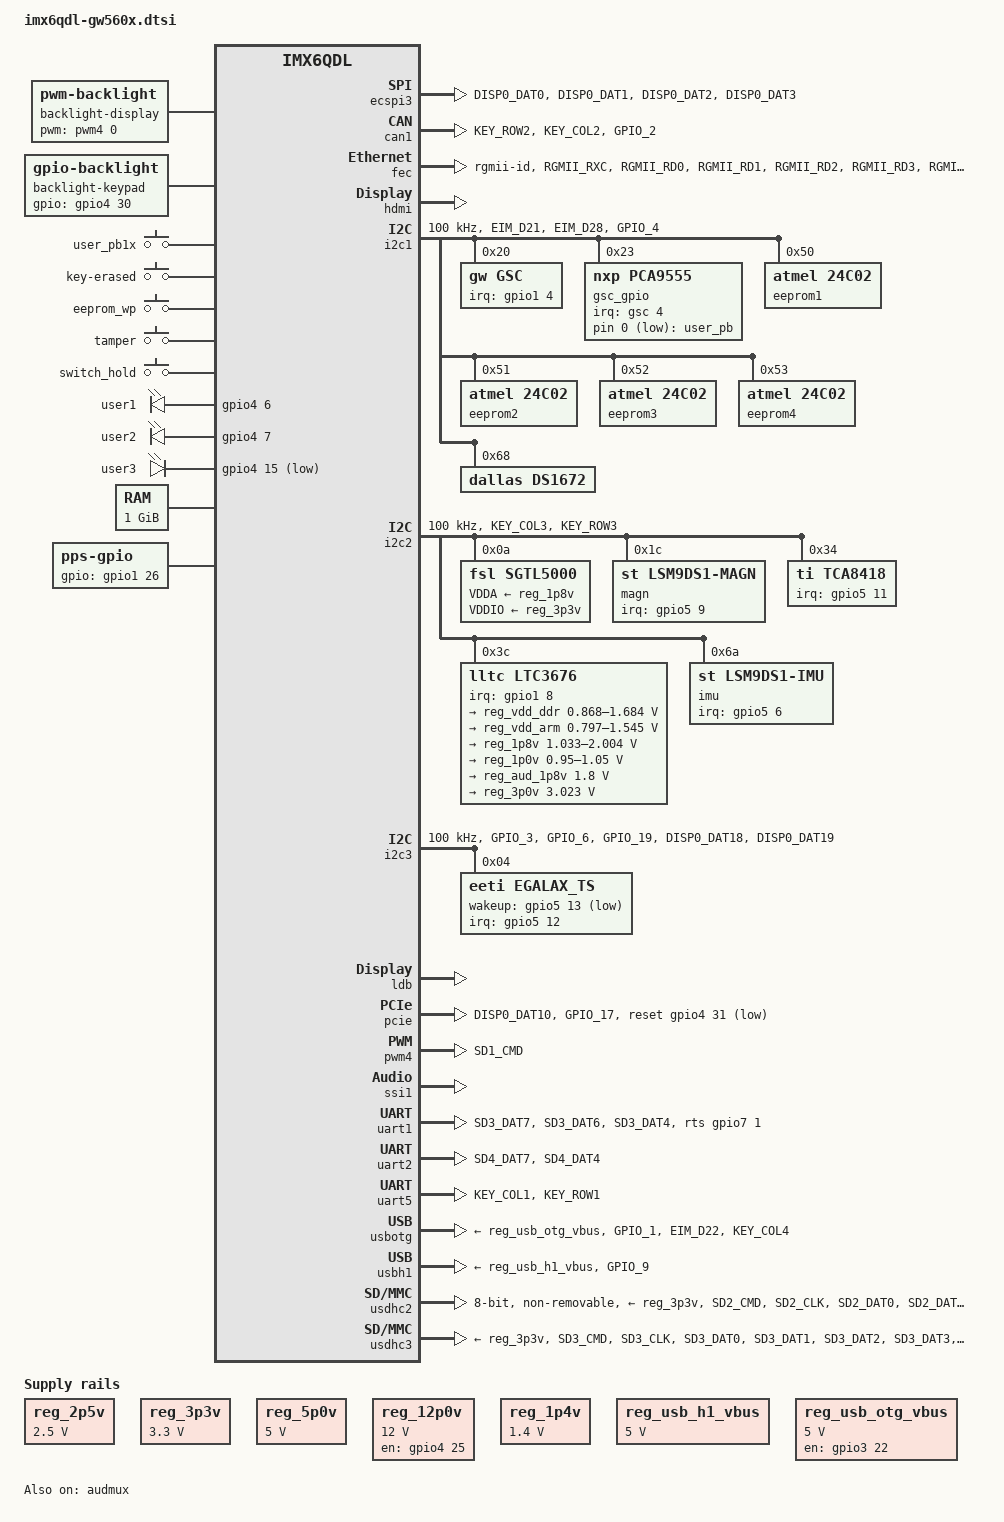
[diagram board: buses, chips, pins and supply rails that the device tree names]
/*
 * Copyright 2017 Gateworks Corporation
 *
 * This file is dual-licensed: you can use it either under the terms
 * of the GPL or the X11 license, at your option. Note that this dual
 * licensing only applies to this file, and not this project as a
 * whole.
 *
 *  a) This file is free software; you can redistribute it and/or
 *     modify it under the terms of the GNU General Public License as
 *     published by the Free Software Foundation; either version 2 of
 *     the License, or (at your option) any later version.
 *
 *     This file is distributed in the hope that it will be useful,
 *     but WITHOUT ANY WARRANTY; without even the implied warranty of
 *     MERCHANTABILITY or FITNESS FOR A PARTICULAR PURPOSE.  See the
 *     GNU General Public License for more details.
 *
 *     You should have received a copy of the GNU General Public
 *     License along with this file; if not, write to the Free
 *     Software Foundation, Inc., 51 Franklin St, Fifth Floor, Boston,
 *     MA 02110-1301 USA
 *
 * Or, alternatively,
 *
 *  b) Permission is hereby granted, free of charge, to any person
 *     obtaining a copy of this software and associated documentation
 *     files (the "Software"), to deal in the Software without
 *     restriction, including without limitation the rights to use,
 *     copy, modify, merge, publish, distribute, sublicense, and/or
 *     sell copies of the Software, and to permit persons to whom the
 *     Software is furnished to do so, subject to the following
 *     conditions:
 *
 *     The above copyright notice and this permission notice shall be
 *     included in all copies or substantial portions of the Software.
 *
 *     THE SOFTWARE IS PROVIDED "AS IS", WITHOUT WARRANTY OF ANY KIND,
 *     EXPRESS OR IMPLIED, INCLUDING BUT NOT LIMITED TO THE WARRANTIES
 *     OF MERCHANTABILITY, FITNESS FOR A PARTICULAR PURPOSE AND
 *     NONINFRINGEMENT. IN NO EVENT SHALL THE AUTHORS OR COPYRIGHT
 *     HOLDERS BE LIABLE FOR ANY CLAIM, DAMAGES OR OTHER LIABILITY,
 *     WHETHER IN AN ACTION OF CONTRACT, TORT OR OTHERWISE, ARISING
 *     FROM, OUT OF OR IN CONNECTION WITH THE SOFTWARE OR THE USE OR
 *     OTHER DEALINGS IN THE SOFTWARE.
 */

#include <dt-bindings/gpio/gpio.h>
#include <dt-bindings/input/input.h>
#include <dt-bindings/interrupt-controller/irq.h>

/ {
	/* these are used by bootloader for disabling nodes */
	aliases {
		led0 = &led0;
		led1 = &led1;
		led2 = &led2;
		ssi0 = &ssi1;
		usb0 = &usbh1;
		usb1 = &usbotg;
	};

	chosen {
		stdout-path = &uart2;
	};

	backlight-display {
		compatible = "pwm-backlight";
		pwms = <&pwm4 0 5000000 0>;
		brightness-levels = <
			0  1  2  3  4  5  6  7  8  9
			10 11 12 13 14 15 16 17 18 19
			20 21 22 23 24 25 26 27 28 29
			30 31 32 33 34 35 36 37 38 39
			40 41 42 43 44 45 46 47 48 49
			50 51 52 53 54 55 56 57 58 59
			60 61 62 63 64 65 66 67 68 69
			70 71 72 73 74 75 76 77 78 79
			80 81 82 83 84 85 86 87 88 89
			90 91 92 93 94 95 96 97 98 99
			100
			>;
		default-brightness-level = <100>;
	};

	backlight-keypad {
		compatible = "gpio-backlight";
		gpios = <&gpio4 30 GPIO_ACTIVE_HIGH>;
		default-on;
	};

	gpio-keys {
		compatible = "gpio-keys";

		user-pb {
			label = "user_pb";
			gpios = <&gsc_gpio 0 GPIO_ACTIVE_LOW>;
			linux,code = <BTN_0>;
		};

		user-pb1x {
			label = "user_pb1x";
			linux,code = <BTN_1>;
			interrupt-parent = <&gsc>;
			interrupts = <0>;
		};

		key-erased {
			label = "key-erased";
			linux,code = <BTN_2>;
			interrupt-parent = <&gsc>;
			interrupts = <1>;
		};

		eeprom-wp {
			label = "eeprom_wp";
			linux,code = <BTN_3>;
			interrupt-parent = <&gsc>;
			interrupts = <2>;
		};

		tamper {
			label = "tamper";
			linux,code = <BTN_4>;
			interrupt-parent = <&gsc>;
			interrupts = <5>;
		};

		switch-hold {
			label = "switch_hold";
			linux,code = <BTN_5>;
			interrupt-parent = <&gsc>;
			interrupts = <7>;
		};
	};

	leds {
		compatible = "gpio-leds";
		pinctrl-names = "default";
		pinctrl-0 = <&pinctrl_gpio_leds>;

		led0: led-user1 {
			label = "user1";
			gpios = <&gpio4 6 GPIO_ACTIVE_HIGH>; /* MX6_PANLEDG */
			default-state = "on";
			linux,default-trigger = "heartbeat";
		};

		led1: led-user2 {
			label = "user2";
			gpios = <&gpio4 7 GPIO_ACTIVE_HIGH>; /* MX6_PANLEDR */
			default-state = "off";
		};

		led2: led-user3 {
			label = "user3";
			gpios = <&gpio4 15 GPIO_ACTIVE_LOW>; /* MX6_LOCLED# */
			default-state = "off";
		};
	};

	memory@10000000 {
		device_type = "memory";
		reg = <0x10000000 0x40000000>;
	};

	pps {
		compatible = "pps-gpio";
		pinctrl-names = "default";
		pinctrl-0 = <&pinctrl_pps>;
		gpios = <&gpio1 26 GPIO_ACTIVE_HIGH>;
	};

	reg_2p5v: regulator-2p5v {
		compatible = "regulator-fixed";
		regulator-name = "2P5V";
		regulator-min-microvolt = <2500000>;
		regulator-max-microvolt = <2500000>;
		regulator-always-on;
	};

	reg_3p3v: regulator-3p3v {
		compatible = "regulator-fixed";
		regulator-name = "3P3V";
		regulator-min-microvolt = <3300000>;
		regulator-max-microvolt = <3300000>;
		regulator-always-on;
	};

	reg_5p0v: regulator-5p0v {
		compatible = "regulator-fixed";
		regulator-name = "5P0V";
		regulator-min-microvolt = <5000000>;
		regulator-max-microvolt = <5000000>;
		regulator-always-on;
	};

	reg_12p0v: regulator-12p0v {
		compatible = "regulator-fixed";
		regulator-name = "12P0V";
		regulator-min-microvolt = <12000000>;
		regulator-max-microvolt = <12000000>;
		gpio = <&gpio4 25 GPIO_ACTIVE_HIGH>;
		enable-active-high;
	};

	reg_1p4v: regulator-vddsoc {
		compatible = "regulator-fixed";
		regulator-name = "vdd_soc";
		regulator-min-microvolt = <1400000>;
		regulator-max-microvolt = <1400000>;
		regulator-always-on;
	};

	reg_usb_h1_vbus: regulator-usb-h1-vbus {
		compatible = "regulator-fixed";
		regulator-name = "usb_h1_vbus";
		regulator-min-microvolt = <5000000>;
		regulator-max-microvolt = <5000000>;
		regulator-always-on;
	};

	reg_usb_otg_vbus: regulator-usb-otg-vbus {
		compatible = "regulator-fixed";
		regulator-name = "usb_otg_vbus";
		regulator-min-microvolt = <5000000>;
		regulator-max-microvolt = <5000000>;
		gpio = <&gpio3 22 GPIO_ACTIVE_HIGH>;
		enable-active-high;
	};

	sound {
		compatible = "fsl,imx6q-ventana-sgtl5000",
			     "fsl,imx-audio-sgtl5000";
		model = "sgtl5000-audio";
		ssi-controller = <&ssi1>;
		audio-codec = <&sgtl5000>;
		audio-routing =
			"MIC_IN", "Mic Jack",
			"Mic Jack", "Mic Bias",
			"Headphone Jack", "HP_OUT";
		mux-int-port = <1>;
		mux-ext-port = <4>;
	};
};

&audmux {
	pinctrl-names = "default";
	pinctrl-0 = <&pinctrl_audmux>;
	status = "okay";
};

&ecspi3 {
	cs-gpios = <&gpio4 24 GPIO_ACTIVE_LOW>;
	pinctrl-names = "default";
	pinctrl-0 = <&pinctrl_ecspi3>;
	status = "okay";
};

&can1 {
	pinctrl-names = "default";
	pinctrl-0 = <&pinctrl_flexcan>;
	status = "okay";
};

&clks {
	assigned-clocks = <&clks IMX6QDL_CLK_LDB_DI0_SEL>,
			  <&clks IMX6QDL_CLK_LDB_DI1_SEL>;
	assigned-clock-parents = <&clks IMX6QDL_CLK_PLL3_USB_OTG>,
				 <&clks IMX6QDL_CLK_PLL3_USB_OTG>;
};

&fec {
	pinctrl-names = "default";
	pinctrl-0 = <&pinctrl_enet>;
	phy-mode = "rgmii-id";
	phy-reset-gpios = <&gpio1 30 GPIO_ACTIVE_LOW>;
	status = "okay";
};

&hdmi {
	ddc-i2c-bus = <&i2c3>;
	status = "okay";
};

&i2c1 {
	clock-frequency = <100000>;
	pinctrl-names = "default";
	pinctrl-0 = <&pinctrl_i2c1>;
	status = "okay";

	gsc: gsc@20 {
		compatible = "gw,gsc";
		reg = <0x20>;
		interrupt-parent = <&gpio1>;
		interrupts = <4 IRQ_TYPE_LEVEL_LOW>;
		interrupt-controller;
		#interrupt-cells = <1>;
		#size-cells = <0>;

		adc {
			compatible = "gw,gsc-adc";
			#address-cells = <1>;
			#size-cells = <0>;

			channel@0 {
				gw,mode = <0>;
				reg = <0x00>;
				label = "temp";
			};

			channel@2 {
				gw,mode = <1>;
				reg = <0x02>;
				label = "vdd_vin";
			};

			channel@5 {
				gw,mode = <1>;
				reg = <0x05>;
				label = "vdd_3p3";
			};

			channel@8 {
				gw,mode = <1>;
				reg = <0x08>;
				label = "vdd_bat";
			};

			channel@b {
				gw,mode = <1>;
				reg = <0x0b>;
				label = "vdd_5p0";
			};

			channel@e {
				gw,mode = <1>;
				reg = <0xe>;
				label = "vdd_arm";
			};

			channel@11 {
				gw,mode = <1>;
				reg = <0x11>;
				label = "vdd_soc";
			};

			channel@14 {
				gw,mode = <1>;
				reg = <0x14>;
				label = "vdd_3p0";
			};

			channel@17 {
				gw,mode = <1>;
				reg = <0x17>;
				label = "vdd_1p5";
			};

			channel@1d {
				gw,mode = <1>;
				reg = <0x1d>;
				label = "vdd_1p8";
			};

			channel@20 {
				gw,mode = <1>;
				reg = <0x20>;
				label = "vdd_an1";
			};

			channel@23 {
				gw,mode = <1>;
				reg = <0x23>;
				label = "vdd_2p5";
			};

			channel@26 {
				gw,mode = <1>;
				reg = <0x26>;
				label = "vdd_gps";
			};

			channel@29 {
				gw,mode = <1>;
				reg = <0x29>;
				label = "vdd_an2";
			};
		};
	};

	gsc_gpio: gpio@23 {
		compatible = "nxp,pca9555";
		reg = <0x23>;
		gpio-controller;
		#gpio-cells = <2>;
		interrupt-parent = <&gsc>;
		interrupts = <4>;
	};

	eeprom1: eeprom@50 {
		compatible = "atmel,24c02";
		reg = <0x50>;
		pagesize = <16>;
	};

	eeprom2: eeprom@51 {
		compatible = "atmel,24c02";
		reg = <0x51>;
		pagesize = <16>;
	};

	eeprom3: eeprom@52 {
		compatible = "atmel,24c02";
		reg = <0x52>;
		pagesize = <16>;
	};

	eeprom4: eeprom@53 {
		compatible = "atmel,24c02";
		reg = <0x53>;
		pagesize = <16>;
	};

	ds1672: rtc@68 {
		compatible = "dallas,ds1672";
		reg = <0x68>;
	};
};

&i2c2 {
	clock-frequency = <100000>;
	pinctrl-names = "default";
	pinctrl-0 = <&pinctrl_i2c2>;
	status = "okay";

	sgtl5000: codec@a {
		compatible = "fsl,sgtl5000";
		reg = <0x0a>;
		#sound-dai-cells = <0>;
		clocks = <&clks IMX6QDL_CLK_CKO>;
		VDDA-supply = <&reg_1p8v>;
		VDDIO-supply = <&reg_3p3v>;
	};

	magn@1c {
		compatible = "st,lsm9ds1-magn";
		reg = <0x1c>;
		pinctrl-names = "default";
		pinctrl-0 = <&pinctrl_mag>;
		interrupt-parent = <&gpio5>;
		interrupts = <9 IRQ_TYPE_EDGE_RISING>;
	};

	tca8418: keypad@34 {
		compatible = "ti,tca8418";
		pinctrl-names = "default";
		pinctrl-0 = <&pinctrl_keypad>;
		reg = <0x34>;
		interrupt-parent = <&gpio5>;
		interrupts = <11 IRQ_TYPE_EDGE_FALLING>;
		linux,keymap = < MATRIX_KEY(0x00, 0x01, BTN_0)
			         MATRIX_KEY(0x00, 0x00, BTN_1)
			         MATRIX_KEY(0x01, 0x01, BTN_2)
			         MATRIX_KEY(0x01, 0x00, BTN_3)
			         MATRIX_KEY(0x02, 0x00, BTN_4)
			         MATRIX_KEY(0x00, 0x03, BTN_5)
			         MATRIX_KEY(0x00, 0x02, BTN_6)
			         MATRIX_KEY(0x01, 0x03, BTN_7)
			         MATRIX_KEY(0x01, 0x02, BTN_8)
			         MATRIX_KEY(0x02, 0x02, BTN_9)
		>;
		keypad,num-rows = <4>;
		keypad,num-columns = <4>;
	};

	ltc3676: pmic@3c {
		compatible = "lltc,ltc3676";
		pinctrl-names = "default";
		pinctrl-0 = <&pinctrl_pmic>;
		reg = <0x3c>;
		interrupt-parent = <&gpio1>;
		interrupts = <8 IRQ_TYPE_EDGE_FALLING>;

		regulators {
			/* VDD_DDR (1+R1/R2 = 2.105) */
			reg_vdd_ddr: sw2 {
				regulator-name = "vddddr";
				regulator-min-microvolt = <868310>;
				regulator-max-microvolt = <1684000>;
				lltc,fb-voltage-divider = <221000 200000>;
				regulator-ramp-delay = <7000>;
				regulator-boot-on;
				regulator-always-on;
			};

			/* VDD_ARM (1+R1/R2 = 1.931) */
			reg_vdd_arm: sw3 {
				regulator-name = "vddarm";
				regulator-min-microvolt = <796551>;
				regulator-max-microvolt = <1544827>;
				lltc,fb-voltage-divider = <243000 261000>;
				regulator-ramp-delay = <7000>;
				regulator-boot-on;
				regulator-always-on;
				linux,phandle = <&reg_vdd_arm>;
			};

			/* VDD_1P8 (1+R1/R2 = 2.505): GPS/VideoIn/ENET-PHY */
			reg_1p8v: sw4 {
				regulator-name = "vdd1p8";
				regulator-min-microvolt = <1033310>;
				regulator-max-microvolt = <2004000>;
				lltc,fb-voltage-divider = <301000 200000>;
				regulator-ramp-delay = <7000>;
				regulator-boot-on;
				regulator-always-on;
			};

			/* VDD_1P0 (1+R1/R2 = 1.39): PCIe/ENET-PHY */
			reg_1p0v: ldo2 {
				regulator-name = "vdd1p0";
				regulator-min-microvolt = <950000>;
				regulator-max-microvolt = <1050000>;
				lltc,fb-voltage-divider = <78700 200000>;
				regulator-boot-on;
				regulator-always-on;
			};

			/* VDD_AUD_1P8: Audio codec */
			reg_aud_1p8v: ldo3 {
				regulator-name = "vdd1p8a";
				regulator-min-microvolt = <1800000>;
				regulator-max-microvolt = <1800000>;
				regulator-boot-on;
			};

			/* VDD_HIGH (1+R1/R2 = 4.17) */
			reg_3p0v: ldo4 {
				regulator-name = "vdd3p0";
				regulator-min-microvolt = <3023250>;
				regulator-max-microvolt = <3023250>;
				lltc,fb-voltage-divider = <634000 200000>;
				regulator-boot-on;
				regulator-always-on;
			};
		};
	};

	imu@6a {
		compatible = "st,lsm9ds1-imu";
		reg = <0x6a>;
		st,drdy-int-pin = <1>;
		pinctrl-names = "default";
		pinctrl-0 = <&pinctrl_imu>;
		interrupt-parent = <&gpio5>;
		interrupts = <6 IRQ_TYPE_LEVEL_HIGH>;
	};
};

&i2c3 {
	clock-frequency = <100000>;
	pinctrl-names = "default";
	pinctrl-0 = <&pinctrl_i2c3>;
	status = "okay";

	egalax_ts: touchscreen@4 {
		compatible = "eeti,egalax_ts";
		reg = <0x04>;
		interrupt-parent = <&gpio5>;
		interrupts = <12 IRQ_TYPE_EDGE_FALLING>;
		wakeup-gpios = <&gpio5 13 GPIO_ACTIVE_LOW>;
	};
};

&ldb {
	fsl,dual-channel;
	status = "okay";

	lvds-channel@0 {
		fsl,data-mapping = "spwg";
		fsl,data-width = <18>;
		status = "okay";

		display-timings {
			native-mode = <&timing0>;
			timing0: timing-hsd100pxn1 {
				clock-frequency = <65000000>;
				hactive = <1024>;
				vactive = <768>;
				hback-porch = <220>;
				hfront-porch = <40>;
				vback-porch = <21>;
				vfront-porch = <7>;
				hsync-len = <60>;
				vsync-len = <10>;
			};
		};
	};
};

&pcie {
	pinctrl-names = "default";
	pinctrl-0 = <&pinctrl_pcie>;
	reset-gpio = <&gpio4 31 GPIO_ACTIVE_LOW>;
	status = "okay";
};

&pwm2 {
	pinctrl-names = "default";
	pinctrl-0 = <&pinctrl_pwm2>; /* MX6_DIO1 */
	status = "disabled";
};

&pwm3 {
	pinctrl-names = "default";
	pinctrl-0 = <&pinctrl_pwm3>; /* MX6_DIO2 */
	status = "disabled";
};

&pwm4 {
	pinctrl-names = "default";
	pinctrl-0 = <&pinctrl_pwm4>;
	status = "okay";
};

&ssi1 {
	status = "okay";
};

&uart1 {
	pinctrl-names = "default";
	pinctrl-0 = <&pinctrl_uart1>;
	rts-gpios = <&gpio7 1 GPIO_ACTIVE_HIGH>;
	status = "okay";
};

&uart2 {
	pinctrl-names = "default";
	pinctrl-0 = <&pinctrl_uart2>;
	status = "okay";
};

&uart5 {
	pinctrl-names = "default";
	pinctrl-0 = <&pinctrl_uart5>;
	status = "okay";
};

&usbotg {
	vbus-supply = <&reg_usb_otg_vbus>;
	pinctrl-names = "default";
	pinctrl-0 = <&pinctrl_usbotg>;
	disable-over-current;
	status = "okay";
};

&usbh1 {
	vbus-supply = <&reg_usb_h1_vbus>;
	pinctrl-names = "default";
	pinctrl-0 = <&pinctrl_usbh1>;
	status = "okay";
};

&usdhc2 {
	pinctrl-names = "default";
	pinctrl-0 = <&pinctrl_usdhc2>;
	bus-width = <8>;
	vmmc-supply = <&reg_3p3v>;
	non-removable;
	status = "okay";
};

&usdhc3 {
	pinctrl-names = "default", "state_100mhz", "state_200mhz";
	pinctrl-0 = <&pinctrl_usdhc3>;
	pinctrl-1 = <&pinctrl_usdhc3_100mhz>;
	pinctrl-2 = <&pinctrl_usdhc3_200mhz>;
	cd-gpios = <&gpio7 0 GPIO_ACTIVE_HIGH>;
	vmmc-supply = <&reg_3p3v>;
	status = "okay";
};

&wdog1 {
	pinctrl-names = "default";
	pinctrl-0 = <&pinctrl_wdog>;
	fsl,ext-reset-output;
};

&iomuxc {
	pinctrl_audmux: audmuxgrp {
		fsl,pins = <
			/* AUD4 */
			MX6QDL_PAD_DISP0_DAT20__AUD4_TXC	0x130b0
			MX6QDL_PAD_DISP0_DAT21__AUD4_TXD	0x110b0
			MX6QDL_PAD_DISP0_DAT22__AUD4_TXFS	0x130b0
			MX6QDL_PAD_DISP0_DAT23__AUD4_RXD	0x130b0
			MX6QDL_PAD_GPIO_0__CCM_CLKO1		0x130b0 /* AUD4_MCK */
			/* AUD6 */
			MX6QDL_PAD_DI0_PIN2__AUD6_TXD		0x130b0
			MX6QDL_PAD_DI0_PIN3__AUD6_TXFS		0x130b0
			MX6QDL_PAD_DI0_PIN4__AUD6_RXD		0x130b0
			MX6QDL_PAD_DI0_PIN15__AUD6_TXC		0x130b0
		>;
	};

	pinctrl_ecspi3: escpi3grp {
		fsl,pins = <
			MX6QDL_PAD_DISP0_DAT0__ECSPI3_SCLK	0x100b1
			MX6QDL_PAD_DISP0_DAT1__ECSPI3_MOSI	0x100b1
			MX6QDL_PAD_DISP0_DAT2__ECSPI3_MISO	0x100b1
			MX6QDL_PAD_DISP0_DAT3__GPIO4_IO24	0x100b1
		>;
	};

	pinctrl_enet: enetgrp {
		fsl,pins = <
			MX6QDL_PAD_RGMII_RXC__RGMII_RXC		0x1b030
			MX6QDL_PAD_RGMII_RD0__RGMII_RD0		0x1b030
			MX6QDL_PAD_RGMII_RD1__RGMII_RD1		0x1b030
			MX6QDL_PAD_RGMII_RD2__RGMII_RD2		0x1b030
			MX6QDL_PAD_RGMII_RD3__RGMII_RD3		0x1b030
			MX6QDL_PAD_RGMII_RX_CTL__RGMII_RX_CTL	0x1b030
			MX6QDL_PAD_RGMII_TXC__RGMII_TXC		0x1b030
			MX6QDL_PAD_RGMII_TD0__RGMII_TD0		0x1b030
			MX6QDL_PAD_RGMII_TD1__RGMII_TD1		0x1b030
			MX6QDL_PAD_RGMII_TD2__RGMII_TD2		0x1b030
			MX6QDL_PAD_RGMII_TD3__RGMII_TD3		0x1b030
			MX6QDL_PAD_RGMII_TX_CTL__RGMII_TX_CTL	0x1b030
			MX6QDL_PAD_ENET_REF_CLK__ENET_TX_CLK	0x1b0b0
			MX6QDL_PAD_ENET_MDIO__ENET_MDIO		0x1b0b0
			MX6QDL_PAD_ENET_MDC__ENET_MDC		0x1b0b0
			MX6QDL_PAD_GPIO_16__ENET_REF_CLK	0x4001b0a8
			MX6QDL_PAD_ENET_TXD0__GPIO1_IO30	0x4001b0b0 /* PHY_RST# */
		>;
	};

	pinctrl_flexcan: flexcangrp {
		fsl,pins = <
			MX6QDL_PAD_KEY_ROW2__FLEXCAN1_RX	0x1b0b1
			MX6QDL_PAD_KEY_COL2__FLEXCAN1_TX	0x1b0b1
			MX6QDL_PAD_GPIO_2__GPIO1_IO02		0x4001b0b0 /* CAN_STBY */
		>;
	};

	pinctrl_gpio_leds: gpioledsgrp {
		fsl,pins = <
			MX6QDL_PAD_KEY_COL0__GPIO4_IO06		0x1b0b0
			MX6QDL_PAD_KEY_ROW0__GPIO4_IO07		0x1b0b0
			MX6QDL_PAD_KEY_ROW4__GPIO4_IO15		0x1b0b0
		>;
	};

	pinctrl_i2c1: i2c1grp {
		fsl,pins = <
			MX6QDL_PAD_EIM_D21__I2C1_SCL		0x4001b8b1
			MX6QDL_PAD_EIM_D28__I2C1_SDA		0x4001b8b1
			MX6QDL_PAD_GPIO_4__GPIO1_IO04		0xb0b1
		>;
	};

	pinctrl_i2c2: i2c2grp {
		fsl,pins = <
			MX6QDL_PAD_KEY_COL3__I2C2_SCL		0x4001b8b1
			MX6QDL_PAD_KEY_ROW3__I2C2_SDA		0x4001b8b1
		>;
	};

	pinctrl_i2c3: i2c3grp {
		fsl,pins = <
			MX6QDL_PAD_GPIO_3__I2C3_SCL		0x4001b8b1
			MX6QDL_PAD_GPIO_6__I2C3_SDA		0x4001b8b1
			MX6QDL_PAD_GPIO_19__GPIO4_IO05		0x4001b0b0 /* DIOI2C_DIS# */
			MX6QDL_PAD_DISP0_DAT18__GPIO5_IO12	0x0001b0b0 /* LVDS_TOUCH_IRQ# */
			MX6QDL_PAD_DISP0_DAT19__GPIO5_IO13	0x0001b0b0 /* LVDS_BACKEN */
		>;
	};

	pinctrl_imu: imugrp {
		fsl,pins = <
			MX6QDL_PAD_DISP0_DAT12__GPIO5_IO06	0x1b0b0
		>;
	};

	pinctrl_keypad: keypadgrp {
		fsl,pins = <
			MX6QDL_PAD_DISP0_DAT17__GPIO5_IO11	0x0001b0b0 /* KEYPAD_IRQ# */
			MX6QDL_PAD_DISP0_DAT9__GPIO4_IO30	0x0001b0b0 /* KEYPAD_LED_EN */
		>;
	};

	pinctrl_mag: maggrp {
		fsl,pins = <
			MX6QDL_PAD_DISP0_DAT15__GPIO5_IO09	0x1b0b0
		>;
	};

	pinctrl_pcie: pciegrp {
		fsl,pins = <
			MX6QDL_PAD_DISP0_DAT10__GPIO4_IO31	0x1b0b0    /* PCI_RST# */
			MX6QDL_PAD_GPIO_17__GPIO7_IO12		0x4001b0b0 /* PCIESKT_WDIS# */
		>;
	};

	pinctrl_pmic: pmicgrp {
		fsl,pins = <
			MX6QDL_PAD_GPIO_8__GPIO1_IO08		0x0001b0b0 /* PMIC_IRQ# */
		>;
	};

	pinctrl_pps: ppsgrp {
		fsl,pins = <
			MX6QDL_PAD_ENET_RXD1__GPIO1_IO26	0x1b0b1
		>;
	};

	pinctrl_pwm2: pwm2grp {
		fsl,pins = <
			MX6QDL_PAD_SD1_DAT2__PWM2_OUT		0x1b0b1
		>;
	};

	pinctrl_pwm3: pwm3grp {
		fsl,pins = <
			MX6QDL_PAD_SD1_DAT1__PWM3_OUT		0x1b0b1
		>;
	};

	pinctrl_pwm4: pwm4grp {
		fsl,pins = <
			MX6QDL_PAD_SD1_CMD__PWM4_OUT		0x1b0b1
		>;
	};

	pinctrl_uart1: uart1grp {
		fsl,pins = <
			MX6QDL_PAD_SD3_DAT7__UART1_TX_DATA	0x1b0b1
			MX6QDL_PAD_SD3_DAT6__UART1_RX_DATA	0x1b0b1
			MX6QDL_PAD_SD3_DAT4__GPIO7_IO01		0x4001b0b1 /* TEN */
		>;
	};

	pinctrl_uart2: uart2grp {
		fsl,pins = <
			MX6QDL_PAD_SD4_DAT7__UART2_TX_DATA	0x1b0b1
			MX6QDL_PAD_SD4_DAT4__UART2_RX_DATA	0x1b0b1
		>;
	};

	pinctrl_uart5: uart5grp {
		fsl,pins = <
			MX6QDL_PAD_KEY_COL1__UART5_TX_DATA	0x1b0b1
			MX6QDL_PAD_KEY_ROW1__UART5_RX_DATA	0x1b0b1
		>;
	};

	pinctrl_usbh1: usbh1grp {
		fsl,pins = <
			MX6QDL_PAD_GPIO_9__GPIO1_IO09		0x4001b0b0 /* USBHUB_RST# */
		>;
	};

	pinctrl_usbotg: usbotggrp {
		fsl,pins = <
			MX6QDL_PAD_GPIO_1__USB_OTG_ID		0x17059
			MX6QDL_PAD_EIM_D22__GPIO3_IO22		0x1b0b0 /* PWR_EN */
			MX6QDL_PAD_KEY_COL4__GPIO4_IO14		0x1b0b0 /* OC */
		>;
	};

	pinctrl_usdhc2: usdhc2grp {
		fsl,pins = <
			MX6QDL_PAD_SD2_CMD__SD2_CMD		0x170f9
			MX6QDL_PAD_SD2_CLK__SD2_CLK		0x100f9
			MX6QDL_PAD_SD2_DAT0__SD2_DATA0		0x170f9
			MX6QDL_PAD_SD2_DAT1__SD2_DATA1		0x170f9
			MX6QDL_PAD_SD2_DAT2__SD2_DATA2		0x170f9
			MX6QDL_PAD_SD2_DAT3__SD2_DATA3		0x170f9
			MX6QDL_PAD_NANDF_D4__SD2_DATA4		0x170f9
			MX6QDL_PAD_NANDF_D5__SD2_DATA5		0x170f9
			MX6QDL_PAD_NANDF_D6__SD2_DATA6		0x170f9
			MX6QDL_PAD_NANDF_D7__SD2_DATA7		0x170f9
		>;
	};

	pinctrl_usdhc3: usdhc3grp {
		fsl,pins = <
			MX6QDL_PAD_SD3_CMD__SD3_CMD		0x17059
			MX6QDL_PAD_SD3_CLK__SD3_CLK		0x10059
			MX6QDL_PAD_SD3_DAT0__SD3_DATA0		0x17059
			MX6QDL_PAD_SD3_DAT1__SD3_DATA1		0x17059
			MX6QDL_PAD_SD3_DAT2__SD3_DATA2		0x17059
			MX6QDL_PAD_SD3_DAT3__SD3_DATA3		0x17059
			MX6QDL_PAD_SD3_DAT5__GPIO7_IO00		0x17059 /* CD */
			MX6QDL_PAD_NANDF_CS1__SD3_VSELECT	0x17059
		>;
	};

	pinctrl_usdhc3_100mhz: usdhc3-100mhz-grp {
		fsl,pins = <
			MX6QDL_PAD_SD3_CMD__SD3_CMD		0x170b9
			MX6QDL_PAD_SD3_CLK__SD3_CLK		0x100b9
			MX6QDL_PAD_SD3_DAT0__SD3_DATA0		0x170b9
			MX6QDL_PAD_SD3_DAT1__SD3_DATA1		0x170b9
			MX6QDL_PAD_SD3_DAT2__SD3_DATA2		0x170b9
			MX6QDL_PAD_SD3_DAT3__SD3_DATA3		0x170b9
			MX6QDL_PAD_SD3_DAT5__GPIO7_IO00		0x170b9 /* CD */
			MX6QDL_PAD_NANDF_CS1__SD3_VSELECT	0x170b9
		>;
	};

	pinctrl_usdhc3_200mhz: usdhc3-200mhz-grp {
		fsl,pins = <
			MX6QDL_PAD_SD3_CMD__SD3_CMD		0x170f9
			MX6QDL_PAD_SD3_CLK__SD3_CLK		0x100f9
			MX6QDL_PAD_SD3_DAT0__SD3_DATA0		0x170f9
			MX6QDL_PAD_SD3_DAT1__SD3_DATA1		0x170f9
			MX6QDL_PAD_SD3_DAT2__SD3_DATA2		0x170f9
			MX6QDL_PAD_SD3_DAT3__SD3_DATA3		0x170f9
			MX6QDL_PAD_SD3_DAT5__GPIO7_IO00		0x170f9 /* CD */
			MX6QDL_PAD_NANDF_CS1__SD3_VSELECT	0x170f9
		>;
	};

	pinctrl_wdog: wdoggrp {
		fsl,pins = <
			MX6QDL_PAD_DISP0_DAT8__WDOG1_B		0x1b0b0
		>;
	};
};
